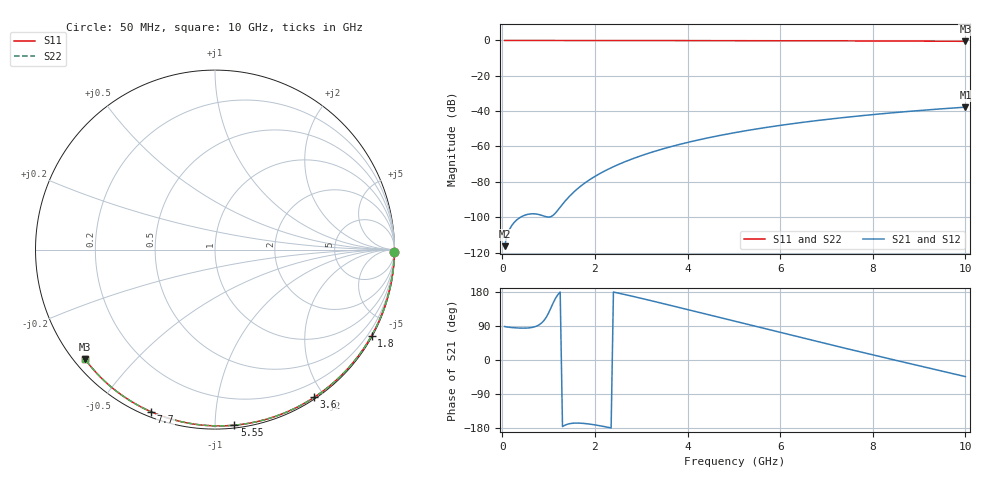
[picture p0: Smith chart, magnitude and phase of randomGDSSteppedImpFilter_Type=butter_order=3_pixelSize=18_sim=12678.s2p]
! freq	dB(S11)	phase(S11)	dB(S12)	phase(S12)
!  dB(S21)	phase(S21)	dB(S22)	phase(S22)
!S-par simulation data
#  GHz  S  DB  R 50
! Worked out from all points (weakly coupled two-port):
!   200 points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, 50 MHz to 10 GHz, reference 50 ohm
!   highest |S21| = -37.74 dB at 10 GHz (marker M1); lowest = -116.4 dB at 50 MHz (marker M2)
!   lowest |S11| = -0.5 dB at 10 GHz (marker M3), VSWR 36.65, Z = 1.54 - j18.2 ohm
!   |S11| at or under -10 dB: nowhere
!   |S22| runs from -0.5 to 0.0 dB; largest |S21 - S12| = 0
!   S11 on the Smith chart (normalised r, x): 50 MHz: open; 1.8 GHz: 0.03, -3.90; 3.6 GHz: 0.02, -1.88; 5.55 GHz: 0.02, -1.12; 7.7 GHz: 0.02, -0.68; 10 GHz: 0.03, -0.36
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0.05  -0.00 -0.8  -116.40 88.4  -116.40 88.4  -0.00 -0.8
0.45  -0.01 -7.3  -99.25 84.1  -99.25 84.1  -0.01 -7.3
0.9  -0.02 -14.5  -99.37 104.2  -99.37 104.2  -0.02 -14.5
1.75  -0.04 -28.0  -81.29 -167.2  -81.29 -167.2  -0.04 -28.0
1.8  -0.04 -28.7  -80.33 -167.8  -80.33 -167.8  -0.04 -28.7
1.85  -0.04 -29.5  -79.43 -168.6  -79.43 -168.6  -0.04 -29.5
2  -0.04 -31.9  -76.93 -171.2  -76.93 -171.2  -0.04 -31.9
2.15  -0.04 -34.2  -74.70 -174.5  -74.70 -174.5  -0.04 -34.2
2.35  -0.05 -37.3  -72.05 -179.3  -72.05 -179.3  -0.05 -37.3
2.55  -0.05 -40.3  -69.69 175.4  -69.69 175.4  -0.05 -40.3
2.95  -0.06 -46.4  -65.65 164.2  -65.65 164.2  -0.06 -46.4
3.4  -0.07 -53.2  -61.87 151.1  -61.87 151.1  -0.07 -53.2
3.6  -0.08 -56.1  -60.38 145.1  -60.38 145.1  -0.08 -56.1
4.3  -0.09 -66.3  -55.91 124.0  -55.91 124.0  -0.09 -66.3
5.05  -0.12 -76.8  -52.02 101.3  -52.02 101.3  -0.12 -76.8
5.55  -0.14 -83.7  -49.83 86.2  -49.83 86.2  -0.14 -83.7
6.1  -0.16 -91.0  -47.69 69.6  -47.69 69.6  -0.16 -91.0
6.7  -0.19 -98.9  -45.63 51.8  -45.63 51.8  -0.19 -98.9
7.7  -0.26 -111.7  -42.72 22.3  -42.72 22.3  -0.26 -111.7
8.35  -0.31 -119.8  -41.10 3.4  -41.10 3.4  -0.31 -119.8
9.2  -0.39 -130.2  -39.25 -21.0  -39.25 -21.0  -0.39 -130.2
10  -0.47 -140.0  -37.74 -43.8  -37.74 -43.8  -0.47 -140.0
